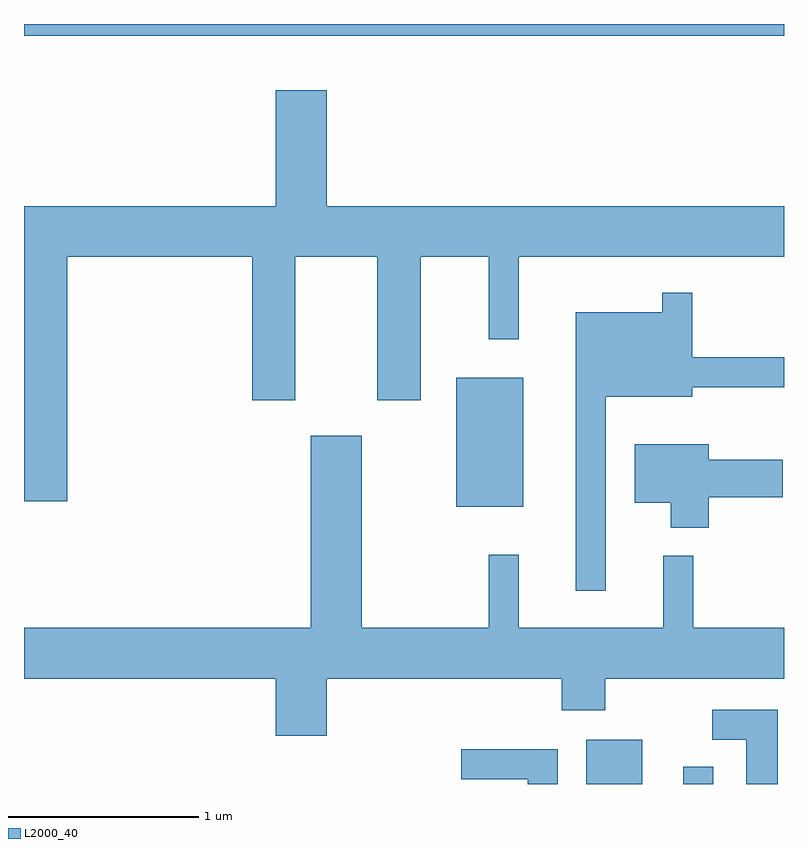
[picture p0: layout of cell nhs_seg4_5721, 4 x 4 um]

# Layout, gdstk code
import gdstk
lib = gdstk.Library(unit=1e-6, precision=1e-09)
def R(c, l, rs):  # rectangles x0, y0, x1, y1
    for r in rs: c.add(gdstk.rectangle(r[:2], r[2:], *l))
def P(c, l, *ps):  # polygons
    for p in ps: c.add(gdstk.Polygon(p, *l))
L2000_40 = (2000, 40)

nhs_seg4_5721 = lib.new_cell('nhs_seg4_5721')
R(nhs_seg4_5721, L2000_40, [(356.571,1271.982,356.864,1272.214), (357.081,1271.982,357.239,1272.073), (355.886,1273.441,356.239,1274.119), (353.611,1275.921,357.611,1275.982)])
P(nhs_seg4_5721, L2000_40, [(353.839,1274.756),(354.811,1274.756),(354.811,1274.001),(355.039,1274.001),(355.039,1274.756),(355.471,1274.756),(355.471,1274.001),(355.699,1274.001),(355.699,1274.756),(356.056,1274.756),(356.056,1274.323),(356.214,1274.323),(356.214,1274.756),(357.611,1274.756),(357.611,1275.024),(355.204,1275.024),(355.204,1275.634),(354.936,1275.634),(354.936,1275.024),(353.611,1275.024),(353.611,1273.471),(353.839,1273.471)],
  [(356.674,1274.021),(357.129,1274.021),(357.129,1274.071),(357.611,1274.071),(357.611,1274.229),(357.129,1274.229),(357.129,1274.568),(356.971,1274.568),(356.971,1274.464),(356.516,1274.464),(356.516,1272.998),(356.674,1272.998)],
  [(355.204,1272.536),(356.441,1272.536),(356.441,1272.371),(356.669,1272.371),(356.669,1272.536),(357.611,1272.536),(357.611,1272.804),(357.134,1272.804),(357.134,1273.183),(356.976,1273.183),(356.976,1272.804),(356.214,1272.804),(356.214,1273.188),(356.056,1273.188),(356.056,1272.804),(355.389,1272.804),(355.389,1273.814),(355.121,1273.814),(355.121,1272.804),(353.611,1272.804),(353.611,1272.536),(354.936,1272.536),(354.936,1272.236),(355.204,1272.236)],
  [(357.214,1273.491),(357.604,1273.491),(357.604,1273.689),(357.214,1273.689),(357.214,1273.769),(356.826,1273.769),(356.826,1273.461),(357.016,1273.461),(357.016,1273.331),(357.214,1273.331)],
  [(357.579,1272.374),(357.233,1272.374),(357.233,1272.216),(357.411,1272.216),(357.411,1271.982),(357.579,1271.982)],
  [(356.419,1272.164),(355.913,1272.164),(355.913,1272.006),(356.261,1272.006),(356.261,1271.982),(356.419,1271.982)])

lib.write_gds('nhs_seg4_5721.gds')
